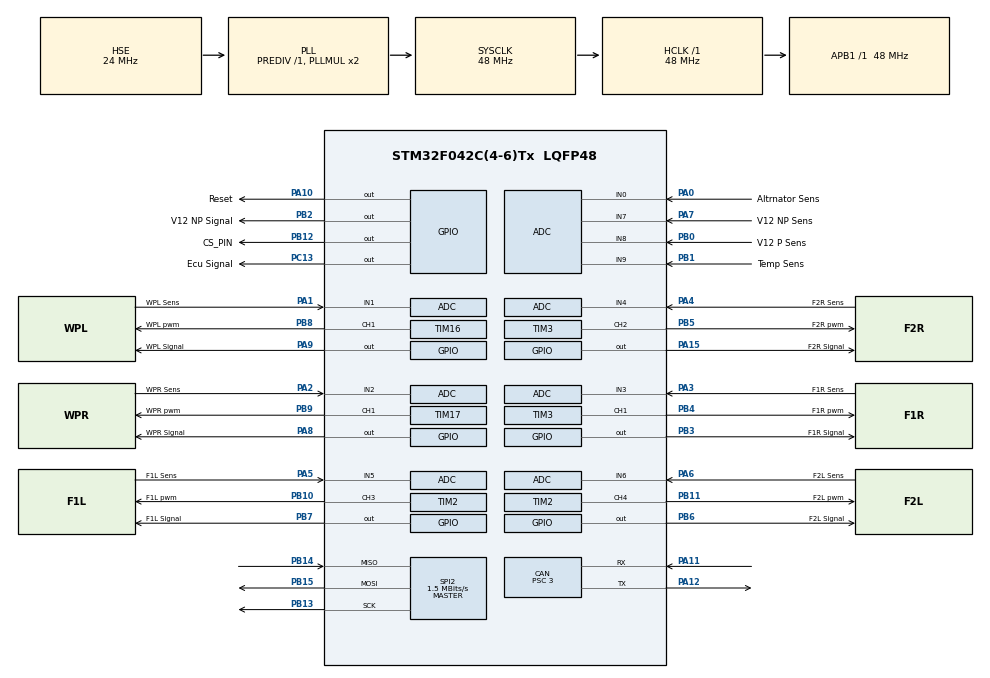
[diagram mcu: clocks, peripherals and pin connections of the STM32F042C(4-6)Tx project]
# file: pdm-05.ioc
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ADC.ContinuousConvMode=ENABLE
ADC.DMAContinuousRequests=ENABLE
ADC.SamplingTime=ADC_SAMPLETIME_239CYCLES_5
CAN.BS1=CAN_BS1_13TQ
CAN.BS2=CAN_BS2_2TQ
CAN.CalculateBaudRate=1000000
CAN.CalculateTimeBit=1000
CAN.CalculateTimeQuantum=62.5
CAN.NART=ENABLE
CAN.Prescaler=3
Dma.ADC.0.Direction=DMA_PERIPH_TO_MEMORY
Dma.ADC.0.Instance=DMA1_Channel1
Dma.ADC.0.MemDataAlignment=DMA_MDATAALIGN_WORD
Dma.ADC.0.MemInc=DMA_MINC_ENABLE
Dma.ADC.0.Mode=DMA_CIRCULAR
Dma.ADC.0.PeriphDataAlignment=DMA_PDATAALIGN_WORD
Dma.ADC.0.PeriphInc=DMA_PINC_DISABLE
Dma.ADC.0.Priority=DMA_PRIORITY_LOW
Dma.Request0=ADC
Mcu.Family=STM32F0
Mcu.Name=STM32F042C(4-6)Tx
Mcu.Package=LQFP48
NVIC.ADC1_IRQn=true\:0\:0\:false\:false\:true\:true\:true\:true
NVIC.CEC_CAN_IRQn=true\:0\:0\:false\:false\:true\:true\:true\:true
NVIC.DMA1_Channel1_IRQn=true\:0\:0\:false\:false\:true\:false\:true\:true
NVIC.TIM14_IRQn=true\:0\:0\:false\:false\:true\:true\:true\:true
NVIC.TIM1_BRK_UP_TRG_COM_IRQn=true\:0\:0\:false\:false\:true\:true\:true\:true
NVIC.TIM1_CC_IRQn=true\:0\:0\:false\:false\:true\:true\:true\:true
PA0.GPIO_Label=Altrnator Sens
PA0.Mode=IN0
PA0.Signal=ADC_IN0
PA1.GPIO_Label=WPL Sens
PA1.Mode=IN1
PA1.Signal=ADC_IN1
PA10.GPIO_Label=Reset
PA10.Signal=GPIO_Output
PA11.Mode=CAN_Activate
PA11.Signal=CAN_RX
PA12.Mode=CAN_Activate
PA12.Signal=CAN_TX
PA13.Mode=Serial_Wire
PA13.Signal=SYS_SWDIO
PA14.Mode=Serial_Wire
PA14.Signal=SYS_SWCLK
PA15.GPIO_Label=F2R Signal
PA15.Signal=GPIO_Output
PA2.GPIO_Label=WPR Sens
PA2.Mode=IN2
PA2.Signal=ADC_IN2
PA3.GPIO_Label=F1R Sens
PA3.Mode=IN3
PA3.Signal=ADC_IN3
PA4.GPIO_Label=F2R Sens
PA4.Mode=IN4
PA4.Signal=ADC_IN4
PA5.GPIO_Label=F1L Sens
PA5.Mode=IN5
PA5.Signal=ADC_IN5
PA6.GPIO_Label=F2L Sens
PA6.Mode=IN6
PA6.Signal=ADC_IN6
PA7.GPIO_Label=V12 NP Sens
PA7.Mode=IN7
PA7.Signal=ADC_IN7
PA8.GPIO_Label=WPR Signal
PA8.Signal=GPIO_Output
PA9.GPIO_Label=WPL Signal
PA9.Signal=GPIO_Output
PB0.GPIO_Label=V12 P Sens
PB0.Mode=IN8
PB0.Signal=ADC_IN8
PB1.GPIO_Label=Temp Sens
PB1.Mode=IN9
PB1.Signal=ADC_IN9
PB10.GPIO_Label=F1L pwm
PB10.Signal=S_TIM2_CH3
PB11.GPIO_Label=F2L pwm
PB11.Signal=S_TIM2_CH4
PB12.GPIO_Label=CS_PIN
PB12.Signal=GPIO_Output
PB13.Mode=Full_Duplex_Master
PB13.Signal=SPI2_SCK
PB14.Mode=Full_Duplex_Master
PB14.Signal=SPI2_MISO
PB15.Mode=Full_Duplex_Master
PB15.Signal=SPI2_MOSI
PB2.GPIO_Label=V12 NP Signal
PB2.Signal=GPIO_Output
PB3.GPIO_Label=F1R Signal
PB3.Signal=GPIO_Output
PB4.GPIO_Label=F1R pwm
PB4.Signal=S_TIM3_CH1
PB5.GPIO_Label=F2R pwm
PB5.Signal=S_TIM3_CH2
PB6.GPIO_Label=F2L Signal
PB6.Signal=GPIO_Output
PB7.GPIO_Label=F1L Signal
PB7.Signal=GPIO_Output
PB8.GPIO_Label=WPL pwm
PB8.Signal=S_TIM16_CH1
PB9.GPIO_Label=WPR pwm
PB9.Signal=S_TIM17_CH1
PC13.GPIO_Label=Ecu Signal
PC13.Signal=GPIO_Output
PF0-OSC_IN.Mode=HSE-External-Oscillator
PF0-OSC_IN.Signal=RCC_OSC_IN
PF1-OSC_OUT.Mode=HSE-External-Oscillator
PF1-OSC_OUT.Signal=RCC_OSC_OUT
ProjectManager.HeapSize=0x200
ProjectManager.StackSize=0x400
ProjectManager.TargetToolchain=STM32CubeIDE
RCC.AHBFreq_Value=48000000
RCC.APB1Freq_Value=48000000
RCC.APB1TimFreq_Value=48000000
RCC.HCLKFreq_Value=48000000
RCC.HSE_VALUE=24000000
RCC.PLLSourceVirtual=RCC_PLLSOURCE_HSE
RCC.SYSCLKFreq_VALUE=48000000
RCC.SYSCLKSource=RCC_SYSCLKSOURCE_PLLCLK
SH.S_TIM16_CH1.0=TIM16_CH1,PWM Generation1 CH1
SH.S_TIM17_CH1.0=TIM17_CH1,PWM Generation1 CH1
SH.S_TIM2_CH3.0=TIM2_CH3,PWM Generation3 CH3
SH.S_TIM2_CH4.0=TIM2_CH4,PWM Generation4 CH4
SH.S_TIM3_CH1.0=TIM3_CH1,PWM Generation1 CH1
SH.S_TIM3_CH2.0=TIM3_CH2,PWM Generation2 CH2
SPI2.BaudRatePrescaler=SPI_BAUDRATEPRESCALER_32
SPI2.CalculateBaudRate=1.5 MBits/s
SPI2.DataSize=SPI_DATASIZE_16BIT
SPI2.Direction=SPI_DIRECTION_2LINES
SPI2.Mode=SPI_MODE_MASTER
SPI2.VirtualType=VM_MASTER
TIM1.Channel-Output\ Compare1\ No\ Output=TIM_CHANNEL_1
TIM1.Period=48000
TIM1.Prescaler=999
TIM14.Channel=TIM_CHANNEL_1
TIM14.Period=48000
TIM14.Prescaler=2000
TIM16.Channel=TIM_CHANNEL_1
TIM16.Period=100
TIM16.Prescaler=3170
TIM17.Channel=TIM_CHANNEL_1
TIM17.Period=100
TIM17.Prescaler=3170
TIM2.Channel-PWM\ Generation3\ CH3=TIM_CHANNEL_3
TIM2.Channel-PWM\ Generation4\ CH4=TIM_CHANNEL_4
TIM2.Period=1000
TIM2.Prescaler=959
TIM3.Channel-PWM\ Generation1\ CH1=TIM_CHANNEL_1
TIM3.Channel-PWM\ Generation2\ CH2=TIM_CHANNEL_2
TIM3.Period=1000
TIM3.Prescaler=959
VP_TIM14_VS_ClockSourceINT.Mode=Enable_Timer
VP_TIM14_VS_no_output1.Mode=Output Compare1 No Output
VP_TIM16_VS_ClockSourceINT.Mode=Enable_Timer
VP_TIM17_VS_ClockSourceINT.Mode=Enable_Timer
VP_TIM1_VS_no_output1.Mode=Output Compare1 No Output
board=custom

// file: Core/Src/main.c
/* USER CODE BEGIN Header */
/**
  ******************************************************************************
  * @file           : main.c
  * @brief          : Main program body
  ******************************************************************************
  * @attention
  *
  * Copyright (c) 2025 STMicroelectronics.
  * All rights reserved.
  *
  * This software is licensed under terms that can be found in the LICENSE file
  * in the root directory of this software component.
  * If no LICENSE file comes with this software, it is provided AS-IS.
  *
  ******************************************************************************
  */
/* USER CODE END Header */
#include "main.h"

/* USER CODE BEGIN PD */
#define HEARTBEAT_ID 0x3B0
#define ADC_ID 0x3B1
#define ADC_ID1 0x3B2
#define ADC_ID2 0x3B3
#define ADC_ID3 0x3B4
#define EMERGENCY_ID 0x3B5
#define ANW_ID 0x2B1

/* USER CODE END PD */

ADC_HandleTypeDef hadc;
DMA_HandleTypeDef hdma_adc;

CAN_HandleTypeDef hcan;

SPI_HandleTypeDef hspi2;

TIM_HandleTypeDef htim1;
TIM_HandleTypeDef htim2;
TIM_HandleTypeDef htim3;
TIM_HandleTypeDef htim14;
TIM_HandleTypeDef htim16;
TIM_HandleTypeDef htim17;

void SystemClock_Config(void);
static void MX_GPIO_Init(void);
static void MX_DMA_Init(void);
static void MX_ADC_Init(void);
static void MX_CAN_Init(void);
static void MX_SPI2_Init(void);
static void MX_TIM3_Init(void);
static void MX_TIM17_Init(void);
static void MX_TIM16_Init(void);
static void MX_TIM2_Init(void);
static void MX_TIM1_Init(void);
static void MX_TIM14_Init(void);

/* USER CODE BEGIN 0 */

CAN_RxHeaderTypeDef RxHeader;
CAN_TxHeaderTypeDef TxHeader_adc;
CAN_TxHeaderTypeDef TxHeader_adc1;
CAN_TxHeaderTypeDef TxHeader_adc2;
CAN_TxHeaderTypeDef TxHeader_adc3;
CAN_TxHeaderTypeDef TxHeader_anw;
CAN_TxHeaderTypeDef TxHeader_heartbeat;
CAN_TxHeaderTypeDef TxHeader_emergency;

uint32_t TxMailBox;
uint8_t TxData_adc[8];
uint8_t TxData_adc1[4];
uint8_t TxData_adc2[4];
uint8_t TxData_adc3[2];
uint8_t TxData_anw[2];
uint8_t TxData_heartbeat[8];
uint8_t TxData_emergency[8];
uint8_t RxData[8];

uint32_t adc_buff[9];
uint16_t value_adc[9];
uint16_t adcSpiBuffer[3];
uint16_t txSpiData;
uint16_t rxSpiData;

uint16_t adc1, adc2, adc3, adc4, adc5, adc6, adc7, adc8, adc9, adc10, adc11, adc12;
uint8_t tempDataFlag, pressDataFlag, fuelDataFlag, rpmDataFlag, battDataFlag,pwmStartFlag,escReadyFlag;
int16_t ect, oilTemp, oilPress, fuelPress, battVolt, rpm;
uint16_t ectTh[4] = {60, 75, 83, 95};// rangos a partir de los cuales cambia el duty
uint16_t oilTh[4] = {80, 100, 115, 130};// rangos a partir de los cuales cambia el duty
uint16_t battTh[3] = {1025, 1030, 1050};// rangos a partir de los cuales cambia el duty
uint16_t dutyFanNill = 48; //es un 4% de duty --> un poco menos de 1ms  time_high = (CCR/AAR)*time_period (f = 50Hz)
uint16_t dutyPumpNill = 10;//duty de la bomba sin funcionar (mirar datasheet) (f = 150hz)
uint16_t dutyFanEctTh[3] = {10, 30, 40}; //poner de 10 en 10 (no 75 )
uint16_t dutyPumpEctTh[3] = {60, 70, 90};
uint16_t dutyFanOilTh[3] = {10, 20, 30}; //poner de 10 en 10 (no 75 )
uint16_t dutyPumpOilTh[3] = {60, 70, 90};
uint8_t battVoltFlagDone[3];
uint16_t battVoltBuffer[15] = {1300, 1300, 1300, 1300, 1300, 1300, 1300, 1300, 1300, 1300, 1300, 1300, 1300, 1300, 1300};
uint16_t fuelPumpCurrentBuffer[100];
uint16_t fuelPressBuffer[100];
uint16_t battVoltAverage, fuelPumpCurrentAverage, instFuelConsumption, fuelPressAverage;

uint8_t canResetEcuFlag;
uint8_t resetCounter;
uint16_t txSpiData;
uint16_t rxSpiData;
uint8_t ectEmergencyFlag, oilEmergencyFlag, fuelPumpEmergencyFlag, battVoltEmergencyFlag;
uint8_t send = 0;
uint8_t heartbeatFlag = 0;

#define CS_LOW()  HAL_GPIO_WritePin(CS_PIN_GPIO_Port, CS_PIN_Pin, GPIO_PIN_RESET);  // Ajusta según tu hardware
#define CS_HIGH() HAL_GPIO_WritePin(CS_PIN_GPIO_Port, CS_PIN_Pin, GPIO_PIN_SET);
#define V12NpOff() HAL_GPIO_WritePin(V12_NP_Signal_GPIO_Port, V12_NP_Signal_Pin, RESET);
#define V12NpOn() HAL_GPIO_WritePin(V12_NP_Signal_GPIO_Port, V12_NP_Signal_Pin, SET);

void translateDuty(uint16_t *buffer, uint8_t bufferSize){
	for (uint8_t i = 0; i < bufferSize; i++) {
	        buffer[i] = 50 + ((buffer[i] / 10) * 5);
	    }
}
void HAL_CAN_RxFifo0MsgPendingCallback(CAN_HandleTypeDef *hcan) {
	if (HAL_CAN_GetRxMessage(hcan, CAN_RX_FIFO0, &RxHeader, RxData) != HAL_OK) {

		Error_Handler();
	}

	if (RxHeader.StdId == 0x3A1) {
			tempDataFlag = 1;
			ect = (RxData[3] << 8) | RxData[2];
			ect = ect - 50;
			if(ect < 0){
				ect = 0;
			}
			oilTemp = (RxData[5] << 8) | RxData[4];
			oilTemp = oilTemp - 50;
			if(oilTemp < 0){
				oilTemp = 0;
			}
	}
	if (RxHeader.StdId == 0x3A2){
			pressDataFlag = 1;
			fuelPress = (RxData[1] << 8) | RxData[0];
			oilPress = (RxData[3] << 8) | RxData[2];

	}
	if (RxHeader.StdId == 0x3A3){
			fuelDataFlag = 1;
			instFuelConsumption = (RxData[3] << 8) | RxData[2];
	}
	if (RxHeader.StdId == 0x3A4){
			rpmDataFlag = 1;
			rpm = (RxData[6] << 8) | RxData[5];
	}
	if (RxHeader.StdId == 0x3A5){
			battDataFlag = 1;
			battVolt = (RxData[1] << 8) | RxData[0];

	}
	if (RxHeader.StdId == 0x093){
		if (RxData[0] == 0x02)	{
			canResetEcuFlag = 1;
		}
	}
}
void HAL_ADC_ConvCpltCallback(ADC_HandleTypeDef *hadc) {
	value_adc[0] = (uint16_t) adc_buff[0];	//Los valores pasan de 32 a 16 bits
	value_adc[1] = (uint16_t) adc_buff[1];
	value_adc[2] = (uint16_t) adc_buff[2];
	value_adc[3] = (uint16_t) adc_buff[3];
	value_adc[4] = (uint16_t) adc_buff[4];
	value_adc[5] = (uint16_t) adc_buff[5];
	value_adc[6] = (uint16_t) adc_buff[6];
	value_adc[7] = (uint16_t) adc_buff[7];
	value_adc[8] = (uint16_t) adc_buff[8];
}
void tempActions(){
	tempDataFlag = 0;
	if((ect > ectTh[0])&&(escReadyFlag)){
		//TIM2->CCR3 = dutyFanEctTh[0];// estos dos están apagados para que solo la bomba se encienda en el primer EctTh
		//TIM2->CCR4 = dutyFanEctTh[0];
		//TIM3->CCR2 = dutyFanEctTh[0];
		TIM16->CCR1 = dutyPumpEctTh[0];

		if(ect >= ectTh[1]){
			TIM2->CCR3 = dutyFanEctTh[0];
			TIM2->CCR4 = dutyFanEctTh[0];

			TIM3->CCR2 = dutyFanEctTh[0];

			TIM16->CCR1 = dutyPumpEctTh[1];

			if(ect > ectTh[2]){
				TIM2->CCR3 = dutyFanEctTh[1];
				TIM2->CCR4 = dutyFanEctTh[1];

				TIM3->CCR2 = dutyFanEctTh[1];

				TIM16->CCR1 = dutyPumpEctTh[1];

				if(ect > ectTh[3]){
					ectEmergencyFlag = 1;
					TIM2->CCR3 = dutyFanEctTh[2];
					TIM2->CCR4 = dutyFanEctTh[2];

					TIM3->CCR2 = dutyFanEctTh[2];

					TIM16->CCR1 = dutyPumpEctTh[2];
				}
			}
		}else{
			TIM2->CCR3 = dutyFanNill;//para que se apaguen a 90
			TIM2->CCR4 = dutyFanNill;

			TIM3->CCR2 = dutyFanNill;
		}
	}else{
		TIM2->CCR3 = dutyFanNill;//Si no entra a esta condición que mande pwms de apagado
		TIM2->CCR4 = dutyFanNill;

		TIM3->CCR2 = dutyFanNill;

		TIM16->CCR1 = dutyPumpNill;
	}
	if((oilTemp > oilTh[0])&&(escReadyFlag)){
		TIM3->CCR1 = dutyFanEctTh[0];

		TIM17->CCR1 = dutyPumpOilTh[0];

		if(oilTemp > oilTh[1]){
			TIM3->CCR1 = dutyFanEctTh[1];

			TIM17->CCR1 = dutyPumpOilTh[1];

			if(oilTemp > oilTh[2]){
				TIM3->CCR1 = dutyFanEctTh[2];

				TIM17->CCR1 = dutyPumpOilTh[2];

				if(oilTemp > oilTh[3]){
					oilEmergencyFlag = 1;
				}
			}
		}
	}else{
		TIM3->CCR1 = dutyFanNill;

		TIM17->CCR1 = dutyPumpNill;
	}
}
void sendCan(){
	send = 0;

	TxData_adc[0] = (adc8 >> 8) & 0xFF;
	TxData_adc[1] = adc8 & 0xFF;
	TxData_adc[2] = (adc2 >> 8) & 0xFF;
	TxData_adc[3] = adc2 & 0xFF;
	TxData_adc[4] = (adc3 >> 8) & 0xFF;
	TxData_adc[5] = adc3 & 0xFF;
	TxData_adc[6] = (adc4 >> 8) & 0xFF;
	TxData_adc[7] = adc4 & 0xFF;

	HAL_CAN_AddTxMessage(&hcan, &TxHeader_adc, TxData_adc, &TxMailBox);

	TxData_adc1[0] = (adc5 >> 8) & 0xFF;
	TxData_adc1[1] = adc5 & 0xFF;
	TxData_adc1[2] = (adc1 >> 8) & 0xFF;
	TxData_adc1[3] = adc1 & 0xFF;

	HAL_CAN_AddTxMessage(&hcan, &TxHeader_adc1, TxData_adc1, &TxMailBox);

	TxData_adc2[0] = (adc6 >> 8) & 0xFF;
	TxData_adc2[1] = adc6 & 0xFF;
	TxData_adc2[2] = (adc9 >> 8) & 0xFF;
	TxData_adc2[3] = adc9 & 0xFF;

	HAL_CAN_AddTxMessage(&hcan, &TxHeader_adc2, TxData_adc2, &TxMailBox);

	if(fuelPumpEmergencyFlag){
		TxData_emergency[0] = 1;
	}
	if(ectEmergencyFlag){
		TxData_emergency[1] = 1;
	}
	if(oilEmergencyFlag){
		TxData_emergency[2] = 1;
	}
	if(battVoltEmergencyFlag){
		TxData_emergency[3] = 1;
	}
	HAL_CAN_AddTxMessage(&hcan, &TxHeader_emergency, TxData_emergency, &TxMailBox);

}
void heartbeat(){
	TxData_heartbeat[0] = 4;
	HAL_CAN_AddTxMessage(&hcan, &TxHeader_heartbeat, TxData_heartbeat,&TxMailBox);
	heartbeatFlag = 0;

}
void mapeoADC(){
	adc1 = ((value_adc[0] * (3300 / 4095)) - 330) * (1 /132)*1000; // ALTERNATOR la trasnformacion ya en mv y de momento, resultado en A
	adc2 = ((value_adc[1] * (3300 / 4095)) - 330) * (1 /264)*1000;; // WPL
	adc3 = ((value_adc[2] * (3300 / 4095)) - 330) * (1 / 264)*1000;; // WPR
	adc4 = ((value_adc[3] * (3300 / 4095)) - 330) * (1 / 264)*1000;; // F1R
	adc5 = ((value_adc[4] * (3300 / 4095)) - 330) * (1 / 264)*1000;; // F2R
	adc6 = ((value_adc[5] * (3300 / 4095)) - 260) * (1 / 264)*1000;; // F1L
	adc7 = ((value_adc[6] * (3300 / 4095)) - 260) * (1 / 264)*1000;; // F2L
	adc8 = ((value_adc[7] * (3300 / 4095)) - 260) * (10 / 88)*1000;; // 12VNP
	adc9 = ((value_adc[8] * (3300 / 4095) - 500) * (1 / 10))*1000;; // calibración del sensor 0.01V/ºC
	adc10 = ((adcSpiBuffer[0] * (3303 / 4095)) - 260) * (1 / 264); //Injection
	adc11 = ((adcSpiBuffer[1] * (3300 / 4095)) - 260) * (1 /264)*1000;; // Fuel Pump
	adc12 = ((adcSpiBuffer[2] * (3300 / 4095)) - 270) * (1 / 264)*1000;; // Ignition
}
void battControl(){
	battDataFlag = 0;
	uint8_t arrayLength = (sizeof(dutyFanEctTh)/sizeof(dutyFanEctTh[0]));
	if((battVoltAverage < battTh[2])&&(battVoltFlagDone[0] == 0)){
		battVoltFlagDone[0] = 1;
		for(uint8_t i=0; (i<arrayLength); i++){
			dutyFanEctTh[i] = dutyFanEctTh[i]-5;
			dutyFanOilTh[i] = dutyFanOilTh[i]-5;
		}
	}
	if((battVoltAverage < battTh[1])&&(battVoltFlagDone[1] == 0)){
		battVoltFlagDone[1] = 1;
		for(uint8_t i=0; (i<arrayLength); i++){
			dutyFanEctTh[i] = dutyFanEctTh[i]-7;
			dutyFanOilTh[i] = dutyFanOilTh[i]-7;

		}
	}
	if(battVoltAverage < battTh[0]){
		V12NpOff();
		if(battVoltFlagDone[2] == 0){
			battVoltFlagDone[2] = 1;
			battVoltEmergencyFlag = 1;
			for(uint8_t i=0; (i<arrayLength); i++){
				dutyFanEctTh[i] = dutyFanEctTh[i]-10;
				dutyFanOilTh[i] = dutyFanOilTh[i]-10;
			}
		}
	}else{
		V12NpOn();
	}
}
void canResetEcu(){
	HAL_GPIO_WritePin(Ecu_Signal_GPIO_Port, Ecu_Signal_Pin, RESET);
	if(resetCounter >= 2){
		canResetEcuFlag = 0;
		resetCounter = 0;
		HAL_GPIO_WritePin(Ecu_Signal_GPIO_Port, Ecu_Signal_Pin, SET);
	}

}
void Read_All_ADC_Channels() {
    uint8_t numChannels = 3;
    uint16_t dummyRead;  // Variable para la primera lectura incorrecta

    // 1ª vuelta: se configuran los canales pero los datos leídos no son válidos aún
    for (uint8_t i = 0; i < numChannels; i++) {
        txSpiData = (i & 0x07) << 12;  // Configurar el canal en el mensaje de SPI
        CS_LOW();
        HAL_SPI_TransmitReceive(&hspi2, (uint8_t*)&txSpiData, (uint8_t*)&dummyRead, 1, HAL_MAX_DELAY);
        CS_HIGH();
    }

    HAL_Delay(1);  // Breve pausa para asegurar estabilidad

    // 2ª vuelta: ahora sí obtenemos los datos correctos
    for (uint8_t i = 0; i < numChannels; i++) {
        txSpiData = (i & 0x07) << 12;  // Configurar el canal en el mensaje de SPI
        rxSpiData = 0;

        CS_LOW();
        HAL_SPI_TransmitReceive(&hspi2, (uint8_t*)&txSpiData, (uint8_t*)&rxSpiData, 1, HAL_MAX_DELAY);
        CS_HIGH();

        adcSpiBuffer[i] = rxSpiData & 0x0FFF;  // Extraer solo los 12 bits de datos del ADC
    }
}
void currentChecking(){

}
uint16_t getBufferAverage(uint16_t *buffer, uint8_t bufferSize) {
    uint32_t sum = 0;

    for (uint8_t i = 0; i < bufferSize; i++) {
        sum += buffer[i];
    }

    return (sum + (bufferSize / 2)) / bufferSize;  // Redondeo clásico
}
void fillBuffer(uint16_t *buffer, uint16_t bufferSize, uint16_t newValue) {
    for (uint8_t i = 0; i < bufferSize - 1; i++) {
        buffer[i] = buffer[i + 1];  // Mueve los valores a la izquierda
    }
    buffer[bufferSize - 1] = newValue;  // Inserta el nuevo valor al final
}
void fuelPumpProtection(){
	fillBuffer(fuelPumpCurrentBuffer, 100, adc11);
	fuelPumpCurrentAverage = getBufferAverage(fuelPumpCurrentBuffer, 100);
	fillBuffer(fuelPressBuffer, 100, fuelPress);
	fuelPressAverage = getBufferAverage(fuelPressBuffer, 100);
	if((fuelPumpCurrentAverage > 65000)&&(fuelPumpEmergencyFlag == 0)){
		fuelPumpEmergencyFlag = 1;
	}
	if((fuelPressAverage < 200)&&(rpm > 1000)&&(fuelPumpEmergencyFlag == 0)){
		fuelPumpEmergencyFlag = 1;
	}
}

/* USER CODE END 0 */

int main(void)
{

  /* MCU Configuration--------------------------------------------------------*/

  /* Reset of all peripherals, Initializes the Flash interface and the Systick. */
  HAL_Init();

  /* Configure the system clock */
  SystemClock_Config();

  /* Initialize all configured peripherals */
  MX_GPIO_Init();
  MX_DMA_Init();
  MX_ADC_Init();
  MX_CAN_Init();
  MX_SPI2_Init();
  MX_TIM3_Init();
  MX_TIM17_Init();
  MX_TIM16_Init();
  MX_TIM2_Init();
  MX_TIM1_Init();
  MX_TIM14_Init();
  /* USER CODE BEGIN 2 */
  HAL_ADC_Start_DMA(&hadc, adc_buff, 9); //Inicia el DMA se le pasa el ADC, la variable donde guardar los datos y el numero de canales
  HAL_ADC_Start_IT(&hadc); //Se inicia la interrupcion de fin de conversion del ADC en el "Set-up"
  HAL_CAN_Start(&hcan);
  HAL_CAN_ActivateNotification(&hcan, CAN_IT_RX_FIFO0_MSG_PENDING);
  HAL_TIM_Base_Start_IT(&htim1);
  HAL_TIM_Base_Start_IT(&htim14);
  TIM2->CCR3 = dutyFanNill;
  TIM2->CCR4 = dutyFanNill;
  TIM3->CCR1 = dutyFanNill;
  TIM3->CCR2 = dutyFanNill;
  TIM16->CCR1 = dutyPumpNill;
  TIM17->CCR1 = dutyPumpNill;
  HAL_TIM_PWM_Start(&htim3, TIM_CHANNEL_1);
  HAL_TIM_PWM_Start(&htim3, TIM_CHANNEL_2);
  HAL_TIM_PWM_Start(&htim2, TIM_CHANNEL_3);
  HAL_TIM_PWM_Start(&htim2, TIM_CHANNEL_4);
  HAL_TIM_PWM_Start(&htim16, TIM_CHANNEL_1);
  HAL_TIM_PWM_Start(&htim17, TIM_CHANNEL_1);

	TxHeader_adc.DLC = 8;
	TxHeader_adc.ExtId = 0;
	TxHeader_adc.IDE = CAN_ID_STD;
	TxHeader_adc.RTR = CAN_RTR_DATA;
	TxHeader_adc.StdId = ADC_ID;
	TxHeader_adc.TransmitGlobalTime = DISABLE;

	TxHeader_adc1.DLC = 4;
	TxHeader_adc1.ExtId = 0;
	TxHeader_adc1.IDE = CAN_ID_STD;
	TxHeader_adc1.RTR = CAN_RTR_DATA;
	TxHeader_adc1.StdId = ADC_ID1;
	TxHeader_adc1.TransmitGlobalTime = DISABLE;

	TxHeader_adc2.DLC = 4;
	TxHeader_adc2.ExtId = 0;
	TxHeader_adc2.IDE = CAN_ID_STD;
	TxHeader_adc2.RTR = CAN_RTR_DATA;
	TxHeader_adc2.StdId = ADC_ID2;
	TxHeader_adc2.TransmitGlobalTime = DISABLE;

	TxHeader_adc3.DLC = 2; //AQUI ESTABA EL ERROR; ESO ESTABA COMO TxHeader_adc2
	TxHeader_adc3.ExtId = 0;
	TxHeader_adc3.IDE = CAN_ID_STD;
	TxHeader_adc3.RTR = CAN_RTR_DATA;
	TxHeader_adc3.StdId = ADC_ID3;
	TxHeader_adc3.TransmitGlobalTime = DISABLE;

	TxHeader_anw.DLC = 2;
	TxHeader_anw.ExtId = 0;
	TxHeader_anw.IDE = CAN_ID_STD;
	TxHeader_anw.RTR = CAN_RTR_DATA;
	TxHeader_anw.StdId = ANW_ID;
	TxHeader_anw.TransmitGlobalTime = DISABLE;

	TxHeader_heartbeat.DLC = 1;
	TxHeader_heartbeat.ExtId = 0;
	TxHeader_heartbeat.IDE = CAN_ID_STD;
	TxHeader_heartbeat.RTR = CAN_RTR_DATA;
	TxHeader_heartbeat.StdId = HEARTBEAT_ID;
	TxHeader_heartbeat.TransmitGlobalTime = DISABLE;

	TxHeader_emergency.DLC = 8;
	TxHeader_emergency.ExtId = 0;
	TxHeader_emergency.IDE = CAN_ID_STD;
	TxHeader_emergency.RTR = CAN_RTR_DATA;
	TxHeader_emergency.StdId = EMERGENCY_ID;
	TxHeader_emergency.TransmitGlobalTime = DISABLE;

	if (HAL_CAN_ActivateNotification(&hcan, CAN_IT_RX_FIFO0_MSG_PENDING)
			!= HAL_OK) {
		Error_Handler();

	}

	translateDuty(dutyFanEctTh, 3);
	translateDuty(dutyFanOilTh, 3);
	V12NpOn();
	HAL_Delay(10);
	HAL_GPIO_WritePin(WPL_Signal_GPIO_Port, WPL_Signal_Pin, SET);
	HAL_Delay(10);
	HAL_GPIO_WritePin(F1L_Signal_GPIO_Port, F1L_Signal_Pin, SET);
	HAL_Delay(10);
	HAL_GPIO_WritePin(F2L_Signal_GPIO_Port, F2L_Signal_Pin, SET);
	HAL_Delay(10);
	HAL_GPIO_WritePin(WPR_Signal_GPIO_Port, WPR_Signal_Pin, SET);
	HAL_Delay(10);
	HAL_GPIO_WritePin(F1R_Signal_GPIO_Port, F1R_Signal_Pin, SET);
	HAL_Delay(10);
	HAL_GPIO_WritePin(F2R_Signal_GPIO_Port, F2R_Signal_Pin, SET);
	TIM2->CCR3 = dutyFanNill;
	TIM2->CCR4 = dutyFanNill;
	TIM16->CCR1 = dutyPumpNill;
	TIM3->CCR1 = dutyFanNill;
	TIM3->CCR2 = dutyFanNill;
	TIM17->CCR1 = dutyPumpNill;

  /* USER CODE END 2 */

  /* Infinite loop */
  /* USER CODE BEGIN WHILE */
  while (1)
  {

	  mapeoADC();
	  if(tempDataFlag){
		  tempActions();
	  }
	  if(send){
		  sendCan();
		  Read_All_ADC_Channels();
	  }
	  if(heartbeatFlag > 5 ){
		  heartbeat();
	  }
	  if(battDataFlag){
		  fillBuffer(battVoltBuffer, 10, battVolt);
		  battVoltAverage= getBufferAverage(battVoltBuffer, 10);
		  battControl();
	  }
	  if(canResetEcuFlag){
		  canResetEcu();
	  }else{
		  HAL_GPIO_WritePin(Ecu_Signal_GPIO_Port, Ecu_Signal_Pin, SET);
	  }
	  if(pressDataFlag){
		  fuelPumpProtection();
	  }

    /* USER CODE END WHILE */

  }
}

void SystemClock_Config(void)
{
  RCC_OscInitTypeDef RCC_OscInitStruct = {0};
  RCC_ClkInitTypeDef RCC_ClkInitStruct = {0};

  /** Initializes the RCC Oscillators according to the specified parameters
  * in the RCC_OscInitTypeDef structure.
  */
  RCC_OscInitStruct.OscillatorType = RCC_OSCILLATORTYPE_HSI14|RCC_OSCILLATORTYPE_HSE;
  RCC_OscInitStruct.HSEState = RCC_HSE_ON;
  RCC_OscInitStruct.HSI14State = RCC_HSI14_ON;
  RCC_OscInitStruct.HSI14CalibrationValue = 16;
  RCC_OscInitStruct.PLL.PLLState = RCC_PLL_ON;
  RCC_OscInitStruct.PLL.PLLSource = RCC_PLLSOURCE_HSE;
  RCC_OscInitStruct.PLL.PLLMUL = RCC_PLL_MUL2;
  RCC_OscInitStruct.PLL.PREDIV = RCC_PREDIV_DIV1;
  if (HAL_RCC_OscConfig(&RCC_OscInitStruct) != HAL_OK)
  {
    Error_Handler();
  }

  /** Initializes the CPU, AHB and APB buses clocks
  */
  RCC_ClkInitStruct.ClockType = RCC_CLOCKTYPE_HCLK|RCC_CLOCKTYPE_SYSCLK
                              |RCC_CLOCKTYPE_PCLK1;
  RCC_ClkInitStruct.SYSCLKSource = RCC_SYSCLKSOURCE_PLLCLK;
  RCC_ClkInitStruct.AHBCLKDivider = RCC_SYSCLK_DIV1;
  RCC_ClkInitStruct.APB1CLKDivider = RCC_HCLK_DIV1;

  if (HAL_RCC_ClockConfig(&RCC_ClkInitStruct, FLASH_LATENCY_1) != HAL_OK)
  {
    Error_Handler();
  }
}

static void MX_ADC_Init(void)
{

  ADC_ChannelConfTypeDef sConfig = {0};

  /** Configure the global features of the ADC (Clock, Resolution, Data Alignment and number of conversion)
  */
  hadc.Instance = ADC1;
  hadc.Init.ClockPrescaler = ADC_CLOCK_ASYNC_DIV1;
  hadc.Init.Resolution = ADC_RESOLUTION_12B;
  hadc.Init.DataAlign = ADC_DATAALIGN_RIGHT;
  hadc.Init.ScanConvMode = ADC_SCAN_DIRECTION_FORWARD;
  hadc.Init.EOCSelection = ADC_EOC_SINGLE_CONV;
  hadc.Init.LowPowerAutoWait = DISABLE;
  hadc.Init.LowPowerAutoPowerOff = DISABLE;
  hadc.Init.ContinuousConvMode = ENABLE;
  hadc.Init.DiscontinuousConvMode = DISABLE;
  hadc.Init.ExternalTrigConv = ADC_SOFTWARE_START;
  hadc.Init.ExternalTrigConvEdge = ADC_EXTERNALTRIGCONVEDGE_NONE;
  hadc.Init.DMAContinuousRequests = ENABLE;
  hadc.Init.Overrun = ADC_OVR_DATA_PRESERVED;
  if (HAL_ADC_Init(&hadc) != HAL_OK)
  {
    Error_Handler();
  }

  /** Configure for the selected ADC regular channel to be converted.
  */
  sConfig.Channel = ADC_CHANNEL_0;
  sConfig.Rank = ADC_RANK_CHANNEL_NUMBER;
  sConfig.SamplingTime = ADC_SAMPLETIME_239CYCLES_5;
  if (HAL_ADC_ConfigChannel(&hadc, &sConfig) != HAL_OK)
  {
    Error_Handler();
  }

  /** Configure for the selected ADC regular channel to be converted.
  */
  sConfig.Channel = ADC_CHANNEL_1;
  if (HAL_ADC_ConfigChannel(&hadc, &sConfig) != HAL_OK)
  {
    Error_Handler();
  }

  /** Configure for the selected ADC regular channel to be converted.
  */
  sConfig.Channel = ADC_CHANNEL_2;
  if (HAL_ADC_ConfigChannel(&hadc, &sConfig) != HAL_OK)
  {
    Error_Handler();
  }

  /** Configure for the selected ADC regular channel to be converted.
  */
  sConfig.Channel = ADC_CHANNEL_3;
  if (HAL_ADC_ConfigChannel(&hadc, &sConfig) != HAL_OK)
  {
    Error_Handler();
  }

  /** Configure for the selected ADC regular channel to be converted.
  */
  sConfig.Channel = ADC_CHANNEL_4;
  if (HAL_ADC_ConfigChannel(&hadc, &sConfig) != HAL_OK)
  {
    Error_Handler();
  }

  /** Configure for the selected ADC regular channel to be converted.
  */
  sConfig.Channel = ADC_CHANNEL_5;
  if (HAL_ADC_ConfigChannel(&hadc, &sConfig) != HAL_OK)
  {
    Error_Handler();
  }

  /** Configure for the selected ADC regular channel to be converted.
  */
  sConfig.Channel = ADC_CHANNEL_6;
  if (HAL_ADC_ConfigChannel(&hadc, &sConfig) != HAL_OK)
  {
    Error_Handler();
  }

  /** Configure for the selected ADC regular channel to be converted.
  */
  sConfig.Channel = ADC_CHANNEL_7;
  if (HAL_ADC_ConfigChannel(&hadc, &sConfig) != HAL_OK)
  {
    Error_Handler();
  }

  /** Configure for the selected ADC regular channel to be converted.
  */
  sConfig.Channel = ADC_CHANNEL_8;
  if (HAL_ADC_ConfigChannel(&hadc, &sConfig) != HAL_OK)
  {
    Error_Handler();
  }

  /** Configure for the selected ADC regular channel to be converted.
  */
  sConfig.Channel = ADC_CHANNEL_9;
  if (HAL_ADC_ConfigChannel(&hadc, &sConfig) != HAL_OK)
  {
    Error_Handler();
  }

}

static void MX_CAN_Init(void)
{

  hcan.Instance = CAN;
  hcan.Init.Prescaler = 3;
  hcan.Init.Mode = CAN_MODE_NORMAL;
  hcan.Init.SyncJumpWidth = CAN_SJW_1TQ;
  hcan.Init.TimeSeg1 = CAN_BS1_13TQ;
  hcan.Init.TimeSeg2 = CAN_BS2_2TQ;
  hcan.Init.TimeTriggeredMode = DISABLE;
  hcan.Init.AutoBusOff = DISABLE;
  hcan.Init.AutoWakeUp = DISABLE;
  hcan.Init.AutoRetransmission = ENABLE;
  hcan.Init.ReceiveFifoLocked = DISABLE;
  hcan.Init.TransmitFifoPriority = DISABLE;
  if (HAL_CAN_Init(&hcan) != HAL_OK)
  {
    Error_Handler();
  }
  /* USER CODE BEGIN CAN_Init 2 */
	CAN_FilterTypeDef canfilterconfig;

//	canfilterconfig.FilterActivation = CAN_FILTER_ENABLE;
//	canfilterconfig.FilterBank = 10;
//	canfilterconfig.FilterFIFOAssignment = CAN_FILTER_FIFO0;
//	canfilterconfig.FilterMode = CAN_FILTERMODE_IDLIST;
//	canfilterconfig.FilterScale = CAN_FILTERSCALE_16BIT;
//	canfilterconfig.FilterIdHigh = 0x1B1 << 5;
//	canfilterconfig.FilterIdLow = 0x3A1 << 5;
//	canfilterconfig.SlaveStartFilterBank = 0;
	canfilterconfig.FilterActivation = CAN_FILTER_ENABLE;
	canfilterconfig.FilterBank = 10;
	canfilterconfig.FilterFIFOAssignment = CAN_FILTER_FIFO0;
	canfilterconfig.FilterMode = CAN_FILTERMODE_IDMASK;  // Modo enmascarado
	canfilterconfig.FilterScale = CAN_FILTERSCALE_32BIT; // Filtro de 32 bits

	// Aceptar todos los IDs: ID = 0x00000000, Máscara = 0x00000000
	canfilterconfig.FilterIdHigh = 0x0000;
	canfilterconfig.FilterIdLow = 0x0000;
	canfilterconfig.FilterMaskIdHigh = 0x0000;
	canfilterconfig.FilterMaskIdLow = 0x0000;

	canfilterconfig.SlaveStartFilterBank = 0;

	HAL_CAN_ConfigFilter(&hcan, &canfilterconfig);
	HAL_CAN_ConfigFilter(&hcan, &canfilterconfig);
  /* USER CODE END CAN_Init 2 */

}

static void MX_SPI2_Init(void)
{

  /* SPI2 parameter configuration*/
  hspi2.Instance = SPI2;
  hspi2.Init.Mode = SPI_MODE_MASTER;
  hspi2.Init.Direction = SPI_DIRECTION_2LINES;
  hspi2.Init.DataSize = SPI_DATASIZE_16BIT;
  hspi2.Init.CLKPolarity = SPI_POLARITY_LOW;
  hspi2.Init.CLKPhase = SPI_PHASE_1EDGE;
  hspi2.Init.NSS = SPI_NSS_SOFT;
  hspi2.Init.BaudRatePrescaler = SPI_BAUDRATEPRESCALER_32;
  hspi2.Init.FirstBit = SPI_FIRSTBIT_MSB;
  hspi2.Init.TIMode = SPI_TIMODE_DISABLE;
  hspi2.Init.CRCCalculation = SPI_CRCCALCULATION_DISABLE;
  hspi2.Init.CRCPolynomial = 7;
  hspi2.Init.CRCLength = SPI_CRC_LENGTH_DATASIZE;
  hspi2.Init.NSSPMode = SPI_NSS_PULSE_ENABLE;
  if (HAL_SPI_Init(&hspi2) != HAL_OK)
  {
    Error_Handler();
  }

}

static void MX_TIM1_Init(void)
{

  TIM_MasterConfigTypeDef sMasterConfig = {0};
  TIM_OC_InitTypeDef sConfigOC = {0};
  TIM_BreakDeadTimeConfigTypeDef sBreakDeadTimeConfig = {0};

  htim1.Instance = TIM1;
  htim1.Init.Prescaler = 999;
  htim1.Init.CounterMode = TIM_COUNTERMODE_UP;
  htim1.Init.Period = 48000;
  htim1.Init.ClockDivision = TIM_CLOCKDIVISION_DIV1;
  htim1.Init.RepetitionCounter = 0;
  htim1.Init.AutoReloadPreload = TIM_AUTORELOAD_PRELOAD_DISABLE;
  if (HAL_TIM_OC_Init(&htim1) != HAL_OK)
  {
    Error_Handler();
  }
  sMasterConfig.MasterOutputTrigger = TIM_TRGO_RESET;
  sMasterConfig.MasterSlaveMode = TIM_MASTERSLAVEMODE_DISABLE;
  if (HAL_TIMEx_MasterConfigSynchronization(&htim1, &sMasterConfig) != HAL_OK)
  {
    Error_Handler();
  }
  sConfigOC.OCMode = TIM_OCMODE_TIMING;
  sConfigOC.Pulse = 0;
  sConfigOC.OCPolarity = TIM_OCPOLARITY_HIGH;
  sConfigOC.OCNPolarity = TIM_OCNPOLARITY_HIGH;
  sConfigOC.OCFastMode = TIM_OCFAST_DISABLE;
  sConfigOC.OCIdleState = TIM_OCIDLESTATE_RESET;
  sConfigOC.OCNIdleState = TIM_OCNIDLESTATE_RESET;
  if (HAL_TIM_OC_ConfigChannel(&htim1, &sConfigOC, TIM_CHANNEL_1) != HAL_OK)
  {
    Error_Handler();
  }
  sBreakDeadTimeConfig.OffStateRunMode = TIM_OSSR_DISABLE;
  sBreakDeadTimeConfig.OffStateIDLEMode = TIM_OSSI_DISABLE;
  sBreakDeadTimeConfig.LockLevel = TIM_LOCKLEVEL_OFF;
  sBreakDeadTimeConfig.DeadTime = 0;
  sBreakDeadTimeConfig.BreakState = TIM_BREAK_DISABLE;
  sBreakDeadTimeConfig.BreakPolarity = TIM_BREAKPOLARITY_HIGH;
  sBreakDeadTimeConfig.AutomaticOutput = TIM_AUTOMATICOUTPUT_DISABLE;
  if (HAL_TIMEx_ConfigBreakDeadTime(&htim1, &sBreakDeadTimeConfig) != HAL_OK)
  {
    Error_Handler();
  }

}

static void MX_TIM2_Init(void)
{

  TIM_MasterConfigTypeDef sMasterConfig = {0};
  TIM_OC_InitTypeDef sConfigOC = {0};

  htim2.Instance = TIM2;
  htim2.Init.Prescaler = 959;
  htim2.Init.CounterMode = TIM_COUNTERMODE_UP;
  htim2.Init.Period = 1000;
  htim2.Init.ClockDivision = TIM_CLOCKDIVISION_DIV1;
  htim2.Init.AutoReloadPreload = TIM_AUTORELOAD_PRELOAD_DISABLE;
  if (HAL_TIM_PWM_Init(&htim2) != HAL_OK)
  {
    Error_Handler();
  }
  sMasterConfig.MasterOutputTrigger = TIM_TRGO_RESET;
  sMasterConfig.MasterSlaveMode = TIM_MASTERSLAVEMODE_DISABLE;
  if (HAL_TIMEx_MasterConfigSynchronization(&htim2, &sMasterConfig) != HAL_OK)
  {
    Error_Handler();
  }
  sConfigOC.OCMode = TIM_OCMODE_PWM1;
  sConfigOC.Pulse = 0;
  sConfigOC.OCPolarity = TIM_OCPOLARITY_HIGH;
  sConfigOC.OCFastMode = TIM_OCFAST_DISABLE;
  if (HAL_TIM_PWM_ConfigChannel(&htim2, &sConfigOC, TIM_CHANNEL_3) != HAL_OK)
  {
    Error_Handler();
  }
  if (HAL_TIM_PWM_ConfigChannel(&htim2, &sConfigOC, TIM_CHANNEL_4) != HAL_OK)
  {
    Error_Handler();
  }
  HAL_TIM_MspPostInit(&htim2);

}

static void MX_TIM3_Init(void)
{

  TIM_MasterConfigTypeDef sMasterConfig = {0};
  TIM_OC_InitTypeDef sConfigOC = {0};

  htim3.Instance = TIM3;
  htim3.Init.Prescaler = 959;
  htim3.Init.CounterMode = TIM_COUNTERMODE_UP;
  htim3.Init.Period = 1000;
  htim3.Init.ClockDivision = TIM_CLOCKDIVISION_DIV1;
  htim3.Init.AutoReloadPreload = TIM_AUTORELOAD_PRELOAD_DISABLE;
  if (HAL_TIM_PWM_Init(&htim3) != HAL_OK)
  {
    Error_Handler();
  }
  sMasterConfig.MasterOutputTrigger = TIM_TRGO_RESET;
  sMasterConfig.MasterSlaveMode = TIM_MASTERSLAVEMODE_DISABLE;
  if (HAL_TIMEx_MasterConfigSynchronization(&htim3, &sMasterConfig) != HAL_OK)
  {
    Error_Handler();
  }
  sConfigOC.OCMode = TIM_OCMODE_PWM1;
  sConfigOC.Pulse = 0;
  sConfigOC.OCPolarity = TIM_OCPOLARITY_HIGH;
  sConfigOC.OCFastMode = TIM_OCFAST_DISABLE;
  if (HAL_TIM_PWM_ConfigChannel(&htim3, &sConfigOC, TIM_CHANNEL_1) != HAL_OK)
  {
    Error_Handler();
  }
  if (HAL_TIM_PWM_ConfigChannel(&htim3, &sConfigOC, TIM_CHANNEL_2) != HAL_OK)
  {
    Error_Handler();
  }
  HAL_TIM_MspPostInit(&htim3);

}

static void MX_TIM14_Init(void)
{

  TIM_OC_InitTypeDef sConfigOC = {0};

  htim14.Instance = TIM14;
  htim14.Init.Prescaler = 4000; // ponerlo para 2/4 segundos
  htim14.Init.CounterMode = TIM_COUNTERMODE_UP;
  htim14.Init.Period = 48000;
  htim14.Init.ClockDivision = TIM_CLOCKDIVISION_DIV1;
  htim14.Init.AutoReloadPreload = TIM_AUTORELOAD_PRELOAD_DISABLE;
  if (HAL_TIM_Base_Init(&htim14) != HAL_OK)
  {
    Error_Handler();
  }
  if (HAL_TIM_OC_Init(&htim14) != HAL_OK)
  {
    Error_Handler();
  }
  sConfigOC.OCMode = TIM_OCMODE_TIMING;
  sConfigOC.Pulse = 0;
  sConfigOC.OCPolarity = TIM_OCPOLARITY_HIGH;
  sConfigOC.OCFastMode = TIM_OCFAST_DISABLE;
  if (HAL_TIM_OC_ConfigChannel(&htim14, &sConfigOC, TIM_CHANNEL_1) != HAL_OK)
  {
    Error_Handler();
  }

}

static void MX_TIM16_Init(void)
{

  TIM_OC_InitTypeDef sConfigOC = {0};
  TIM_BreakDeadTimeConfigTypeDef sBreakDeadTimeConfig = {0};

  htim16.Instance = TIM16;
  htim16.Init.Prescaler = 3170;
  htim16.Init.CounterMode = TIM_COUNTERMODE_UP;
  htim16.Init.Period = 100;
  htim16.Init.ClockDivision = TIM_CLOCKDIVISION_DIV1;
  htim16.Init.RepetitionCounter = 0;
  htim16.Init.AutoReloadPreload = TIM_AUTORELOAD_PRELOAD_DISABLE;
  if (HAL_TIM_Base_Init(&htim16) != HAL_OK)
  {
    Error_Handler();
  }
  if (HAL_TIM_PWM_Init(&htim16) != HAL_OK)
  {
    Error_Handler();
  }
  sConfigOC.OCMode = TIM_OCMODE_PWM1;
  sConfigOC.Pulse = 0;
  sConfigOC.OCPolarity = TIM_OCPOLARITY_HIGH;
  sConfigOC.OCNPolarity = TIM_OCNPOLARITY_HIGH;
  sConfigOC.OCFastMode = TIM_OCFAST_DISABLE;
  sConfigOC.OCIdleState = TIM_OCIDLESTATE_RESET;
  sConfigOC.OCNIdleState = TIM_OCNIDLESTATE_RESET;
  if (HAL_TIM_PWM_ConfigChannel(&htim16, &sConfigOC, TIM_CHANNEL_1) != HAL_OK)
  {
    Error_Handler();
  }
  sBreakDeadTimeConfig.OffStateRunMode = TIM_OSSR_DISABLE;
  sBreakDeadTimeConfig.OffStateIDLEMode = TIM_OSSI_DISABLE;
  sBreakDeadTimeConfig.LockLevel = TIM_LOCKLEVEL_OFF;
  sBreakDeadTimeConfig.DeadTime = 0;
  sBreakDeadTimeConfig.BreakState = TIM_BREAK_DISABLE;
  sBreakDeadTimeConfig.BreakPolarity = TIM_BREAKPOLARITY_HIGH;
  sBreakDeadTimeConfig.AutomaticOutput = TIM_AUTOMATICOUTPUT_DISABLE;
  if (HAL_TIMEx_ConfigBreakDeadTime(&htim16, &sBreakDeadTimeConfig) != HAL_OK)
  {
    Error_Handler();
  }
  HAL_TIM_MspPostInit(&htim16);

}

static void MX_TIM17_Init(void)
{

  TIM_OC_InitTypeDef sConfigOC = {0};
  TIM_BreakDeadTimeConfigTypeDef sBreakDeadTimeConfig = {0};

  htim17.Instance = TIM17;
  htim17.Init.Prescaler = 3170;
  htim17.Init.CounterMode = TIM_COUNTERMODE_UP;
  htim17.Init.Period = 100;
  htim17.Init.ClockDivision = TIM_CLOCKDIVISION_DIV1;
  htim17.Init.RepetitionCounter = 0;
  htim17.Init.AutoReloadPreload = TIM_AUTORELOAD_PRELOAD_DISABLE;
  if (HAL_TIM_Base_Init(&htim17) != HAL_OK)
  {
    Error_Handler();
  }
  if (HAL_TIM_PWM_Init(&htim17) != HAL_OK)
  {
    Error_Handler();
  }
  sConfigOC.OCMode = TIM_OCMODE_PWM1;
  sConfigOC.Pulse = 0;
  sConfigOC.OCPolarity = TIM_OCPOLARITY_HIGH;
  sConfigOC.OCNPolarity = TIM_OCNPOLARITY_HIGH;
  sConfigOC.OCFastMode = TIM_OCFAST_DISABLE;
  sConfigOC.OCIdleState = TIM_OCIDLESTATE_RESET;
  sConfigOC.OCNIdleState = TIM_OCNIDLESTATE_RESET;
  if (HAL_TIM_PWM_ConfigChannel(&htim17, &sConfigOC, TIM_CHANNEL_1) != HAL_OK)
  {
    Error_Handler();
  }
  sBreakDeadTimeConfig.OffStateRunMode = TIM_OSSR_DISABLE;
  sBreakDeadTimeConfig.OffStateIDLEMode = TIM_OSSI_DISABLE;
  sBreakDeadTimeConfig.LockLevel = TIM_LOCKLEVEL_OFF;
  sBreakDeadTimeConfig.DeadTime = 0;
  sBreakDeadTimeConfig.BreakState = TIM_BREAK_DISABLE;
  sBreakDeadTimeConfig.BreakPolarity = TIM_BREAKPOLARITY_HIGH;
  sBreakDeadTimeConfig.AutomaticOutput = TIM_AUTOMATICOUTPUT_DISABLE;
  if (HAL_TIMEx_ConfigBreakDeadTime(&htim17, &sBreakDeadTimeConfig) != HAL_OK)
  {
    Error_Handler();
  }
  HAL_TIM_MspPostInit(&htim17);

}

static void MX_DMA_Init(void)
{

  /* DMA controller clock enable */
  __HAL_RCC_DMA1_CLK_ENABLE();

  /* DMA interrupt init */
  /* DMA1_Channel1_IRQn interrupt configuration */
  HAL_NVIC_SetPriority(DMA1_Channel1_IRQn, 0, 0);
  HAL_NVIC_EnableIRQ(DMA1_Channel1_IRQn);

}

static void MX_GPIO_Init(void)
{
  GPIO_InitTypeDef GPIO_InitStruct = {0};

  /* GPIO Ports Clock Enable */
  __HAL_RCC_GPIOC_CLK_ENABLE();
  __HAL_RCC_GPIOF_CLK_ENABLE();
  __HAL_RCC_GPIOA_CLK_ENABLE();
  __HAL_RCC_GPIOB_CLK_ENABLE();

  /*Configure GPIO pin Output Level */
  HAL_GPIO_WritePin(Ecu_Signal_GPIO_Port, Ecu_Signal_Pin, GPIO_PIN_RESET);

  /*Configure GPIO pin Output Level */
  HAL_GPIO_WritePin(GPIOB, V12_NP_Signal_Pin|CS_PIN_Pin|F1R_Signal_Pin|F2L_Signal_Pin
                          |F1L_Signal_Pin, GPIO_PIN_RESET);

  /*Configure GPIO pin Output Level */
  HAL_GPIO_WritePin(GPIOA, WPR_Signal_Pin|WPL_Signal_Pin|Reset_Pin|F2R_Signal_Pin, GPIO_PIN_RESET);

  /*Configure GPIO pin : Ecu_Signal_Pin */
  GPIO_InitStruct.Pin = Ecu_Signal_Pin;
  GPIO_InitStruct.Mode = GPIO_MODE_OUTPUT_PP;
  GPIO_InitStruct.Pull = GPIO_NOPULL;
  GPIO_InitStruct.Speed = GPIO_SPEED_FREQ_LOW;
  HAL_GPIO_Init(Ecu_Signal_GPIO_Port, &GPIO_InitStruct);

  /*Configure GPIO pins : V12_NP_Signal_Pin CS_PIN_Pin F1R_Signal_Pin F2L_Signal_Pin
                           F1L_Signal_Pin */
  GPIO_InitStruct.Pin = V12_NP_Signal_Pin|CS_PIN_Pin|F1R_Signal_Pin|F2L_Signal_Pin
                          |F1L_Signal_Pin;
  GPIO_InitStruct.Mode = GPIO_MODE_OUTPUT_PP;
  GPIO_InitStruct.Pull = GPIO_NOPULL;
  GPIO_InitStruct.Speed = GPIO_SPEED_FREQ_LOW;
  HAL_GPIO_Init(GPIOB, &GPIO_InitStruct);

  /*Configure GPIO pins : WPR_Signal_Pin WPL_Signal_Pin Reset_Pin F2R_Signal_Pin */
  GPIO_InitStruct.Pin = WPR_Signal_Pin|WPL_Signal_Pin|Reset_Pin|F2R_Signal_Pin;
  GPIO_InitStruct.Mode = GPIO_MODE_OUTPUT_PP;
  GPIO_InitStruct.Pull = GPIO_NOPULL;
  GPIO_InitStruct.Speed = GPIO_SPEED_FREQ_LOW;
  HAL_GPIO_Init(GPIOA, &GPIO_InitStruct);

}

/* USER CODE BEGIN 4 */
void HAL_TIM_PeriodElapsedCallback(TIM_HandleTypeDef *htim) {
	if (htim->Instance == TIM1) {
		send = 1;
		heartbeatFlag = heartbeatFlag+1;
		if(canResetEcuFlag == 1){
			resetCounter = resetCounter+1;
		}
	}
	if (htim->Instance == TIM14) {
			pwmStartFlag = 1;
			escReadyFlag = 1;
		}
}

/* USER CODE END 4 */

void Error_Handler(void)
{
  __disable_irq();
  while (1)
  {
  }
}
